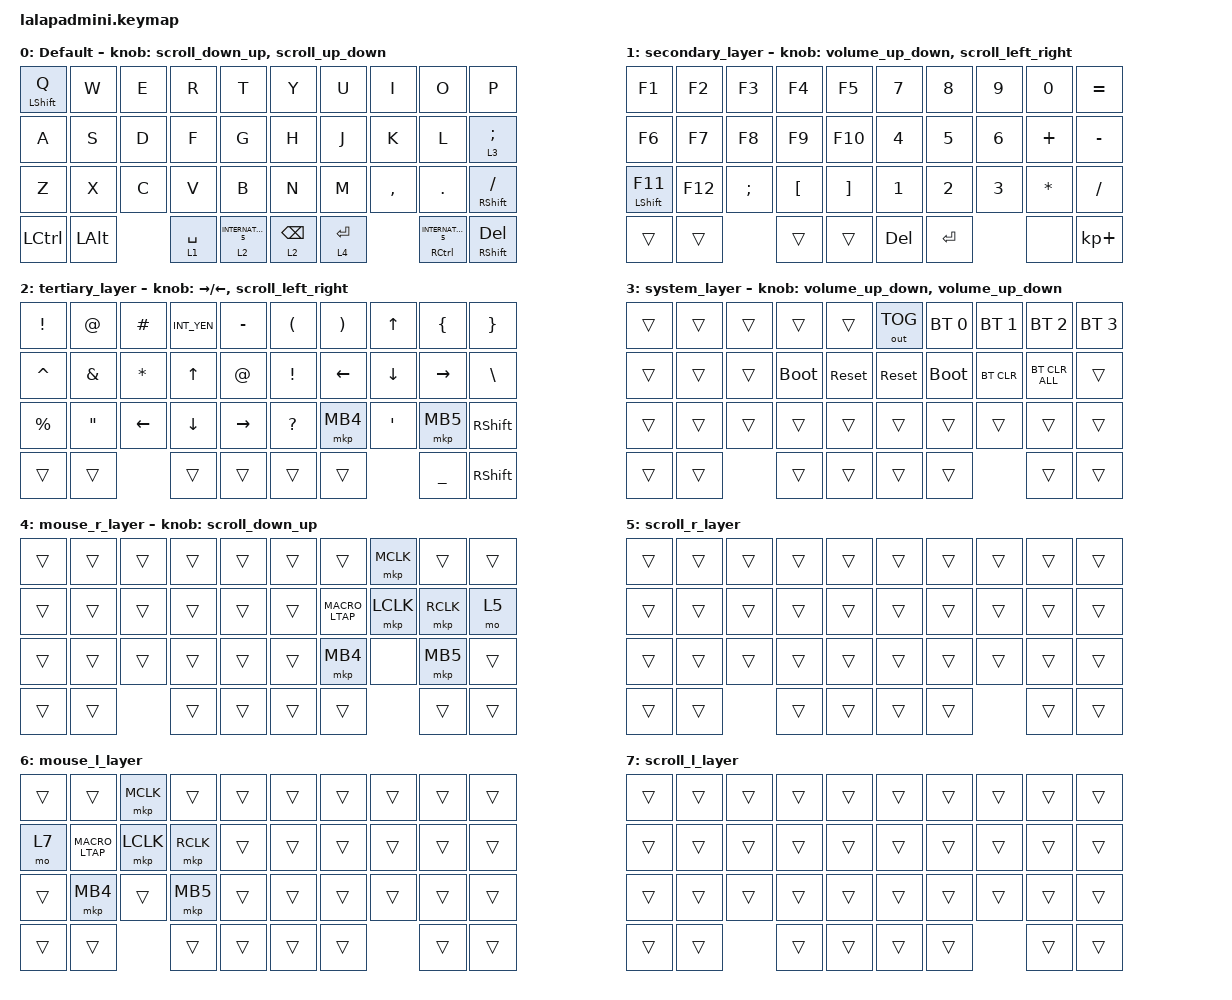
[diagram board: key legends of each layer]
#include <input/processors.dtsi>
#include <behaviors.dtsi>
#include <dt-bindings/zmk/bt.h>
#include <dt-bindings/zmk/keys.h>
#include <dt-bindings/zmk/outputs.h>
#include <dt-bindings/zmk/pointing.h>

#define DEFAULT_LAYER   0
#define SECONDARY_LAYER 1
#define TERTIARY_LAYER  2
#define SYSTEM_LAYER    3
#define MOUSE_R_LAYER   4
#define SCROLL_R_LAYER  5
#define MOUSE_L_LAYER   6
#define SCROLL_L_LAYER  7

// Mouse Scroll Value

#define ZMK_POINTING_DEFAULT_SCRL_VAL 100

// cirque trackpad input&layer control

&glidepoint_listener_R {
    input-processors =
        <&zip_xy_transform (INPUT_TRANSFORM_XY_SWAP | INPUT_TRANSFORM_X_INVERT | INPUT_TRANSFORM_Y_INVERT)>,
        <&zip_xy_scaler 3 2>,
        <&zip_temp_layer MOUSE_R_LAYER 300>;

    lowspeedmode {
        layers = <SECONDARY_LAYER>;
        input-processors =
            <&zip_xy_transform (INPUT_TRANSFORM_XY_SWAP | INPUT_TRANSFORM_X_INVERT | INPUT_TRANSFORM_Y_INVERT)>,
            <&zip_xy_scaler 3 5>,
            <&zip_temp_layer MOUSE_R_LAYER 300>;
    };

    scroller {
        layers = <SCROLL_R_LAYER>;
        input-processors =
            <&zip_xy_to_scroll_mapper>,
            <&zip_scroll_transform (INPUT_TRANSFORM_XY_SWAP | INPUT_TRANSFORM_Y_INVERT)>,
            <&zip_scroll_scaler 1 32>;
    };
};

&glidepoint_listener_L {
    input-processors =
        <&zip_xy_transform (INPUT_TRANSFORM_XY_SWAP | INPUT_TRANSFORM_X_INVERT | INPUT_TRANSFORM_Y_INVERT)>,
        <&zip_xy_scaler 3 2>,
        <&zip_temp_layer MOUSE_L_LAYER 300>;

    lowspeedmode {
        layers = <TERTIARY_LAYER>;
        input-processors =
            <&zip_xy_transform (INPUT_TRANSFORM_XY_SWAP | INPUT_TRANSFORM_X_INVERT | INPUT_TRANSFORM_Y_INVERT)>,
            <&zip_xy_scaler 3 4>,
            <&zip_temp_layer MOUSE_L_LAYER 300>;
    };

    scroller {
        layers = <SCROLL_L_LAYER>;
        input-processors =
            <&zip_xy_to_scroll_mapper>,
            <&zip_scroll_transform (INPUT_TRANSFORM_XY_SWAP | INPUT_TRANSFORM_Y_INVERT)>,
            <&zip_scroll_scaler 1 32>;
    };
};

&mt { quick-tap-ms = <200>; };

&lt { quick-tap-ms = <200>; };

/ {
    behaviors {
        // Encoder to Mouse Scroll

        scroll_up_down: behavior_sensor_rotate_mouse_wheel_up_down {
            compatible = "zmk,behavior-sensor-rotate";
            #sensor-binding-cells = <0>;
            bindings = <&msc SCRL_UP>, <&msc SCRL_DOWN>;

            tap-ms = <20>;
        };

        scroll_down_up: behavior_sensor_rotate_mouse_wheel_down_up {
            compatible = "zmk,behavior-sensor-rotate";
            #sensor-binding-cells = <0>;
            bindings = <&msc SCRL_DOWN>, <&msc SCRL_UP>;

            tap-ms = <20>;
        };

        scroll_left_right: behavior_sensor_rotate_mouse_wheel_left_right {
            compatible = "zmk,behavior-sensor-rotate";
            #sensor-binding-cells = <0>;
            bindings = <&msc SCRL_LEFT>, <&msc SCRL_RIGHT>;

            tap-ms = <20>;
        };

        scroll_right_left: behavior_sensor_rotate_mouse_wheel_right_left {
            compatible = "zmk,behavior-sensor-rotate";
            #sensor-binding-cells = <0>;
            bindings = <&msc SCRL_RIGHT>, <&msc SCRL_LEFT>;

            tap-ms = <20>;
        };

        volume_up_down: behavior_sensor_rotate_volume_up_down {
            compatible = "zmk,behavior-sensor-rotate";
            #sensor-binding-cells = <0>;
            bindings = <&kp C_VOLUME_UP>, <&kp C_VOLUME_DOWN>;

            tap-ms = <20>;
        };

        mt2: mod_tap2 {
            compatible = "zmk,behavior-hold-tap";
            #binding-cells = <2>;
            flavor = "tap-preferred";
            tapping-term-ms = <200>;
            quick-tap-ms = <200>;
            require-prior-idle-ms = <125>;
            bindings = <&kp>, <&kp>;
        };

        tap_dance_layer_1and2: tap_dance_layer_1and2 {
            compatible = "zmk,behavior-tap-dance";
            label = "td_mo12";
            #binding-cells = <0>;
            bindings = <&mo 1>, <&mo 2>;
        };
    };

    combos {
        compatible = "zmk,combos";

        CONBO_ESC {
            bindings = <&kp ESCAPE>;
            key-positions = <0 1>;
        };

        COMBO_TAB {
            bindings = <&kp TAB>;
            key-positions = <10 11>;
        };

        COMBO_WIN {
            bindings = <&kp LWIN>;
            key-positions = <30 31>;
        };

        COMBO_henkan {
            bindings = <&kp INTERNATIONAL_4>;
            key-positions = <32 33>;
        };
    };

    macros {
        MACRO_LTAP: MACRO_LTAP {
            compatible = "zmk,behavior-macro";
            #binding-cells = <0>;
            bindings = <&mkp LCLK>;
            label = "MACRO_LTAP";
        };
    };

    keymap {
        compatible = "zmk,keymap";

        DEFAULT_LAYER {
            display-name = "Default";
            sensor-bindings = <&scroll_down_up>, <&scroll_up_down>;

            bindings = <
&mt LEFT_SHIFT Q  &kp W         &kp E  &kp R        &kp T                  &kp Y            &kp U        &kp I      &kp O                              &kp P
&kp A             &kp S         &kp D  &kp F        &kp G                  &kp H            &kp J        &kp K      &kp L                              &lt 3 SEMI
&kp Z             &kp X         &kp C  &kp V        &kp B                  &kp N            &kp M        &kp COMMA  &kp PERIOD                         &mt RSHIFT SLASH
&kp LCTRL         &kp LEFT_ALT         &lt 1 SPACE  &lt 2 INTERNATIONAL_5  &lt 2 BACKSPACE  &lt 4 ENTER             &mt RIGHT_CONTROL INTERNATIONAL_5  &mt RIGHT_SHIFT DELETE
            >;
        };

        SECONDARY_LAYER {
            display-name = "secondary_layer";
            sensor-bindings = <&volume_up_down>, <&scroll_left_right>;

            bindings = <
&kp F1              &kp F2   &kp F3         &kp F4            &kp F5             &kp NUMBER_7  &kp NUMBER_8  &kp NUMBER_9  &kp NUMBER_0  &kp EQUAL
&kp F6              &kp F7   &kp F8         &kp F9            &kp F10            &kp NUMBER_4  &kp NUMBER_5  &kp NUMBER_6  &kp PLUS      &kp MINUS
&mt LEFT_SHIFT F11  &kp F12  &kp SEMICOLON  &kp LEFT_BRACKET  &kp RIGHT_BRACKET  &kp NUMBER_1  &kp NUMBER_2  &kp NUMBER_3  &kp ASTERISK  &kp SLASH
&trans              &trans                  &trans            &trans             &kp DELETE    &kp ENTER                   &none         &kp KP_PLUS
            >;
        };

        TERTIARY_LAYER {
            display-name = "tertiary_layer";
            bindings = <
&kp EXCLAMATION  &kp AT_SIGN        &kp HASH      &kp INT_YEN  &kp MINUS  &kp LEFT_PARENTHESIS  &kp RIGHT_PARENTHESIS  &kp UP_ARROW    &kp LEFT_BRACE  &kp RIGHT_BRACE
&kp CARET        &kp AMPERSAND      &kp ASTERISK  &kp UP       &kp AT     &kp EXCLAMATION       &kp LEFT               &kp DOWN        &kp RIGHT       &kp BACKSLASH
&kp PERCENT      &kp DOUBLE_QUOTES  &kp LEFT      &kp DOWN     &kp RIGHT  &kp QUESTION          &mkp MB4               &kp APOSTROPHE  &mkp MB5        &kp RIGHT_SHIFT
&trans           &trans                           &trans       &trans     &trans                &trans                                 &kp UNDER       &kp RIGHT_SHIFT
            >;

            sensor-bindings =
                <&inc_dec_kp RIGHT_ARROW LEFT_ARROW>,
                <&scroll_left_right>;
        };

        SYSTEM_LAYER {
            display-name = "system_layer";
            sensor-bindings = <&volume_up_down>, <&volume_up_down>;

            bindings = <
&trans  &trans  &trans  &trans       &trans      &out OUT_TOG  &bt BT_SEL 0  &bt BT_SEL 1  &bt BT_SEL 2    &bt BT_SEL 3
&trans  &trans  &trans  &bootloader  &sys_reset  &sys_reset    &bootloader   &bt BT_CLR    &bt BT_CLR_ALL  &trans
&trans  &trans  &trans  &trans       &trans      &trans        &trans        &trans        &trans          &trans
&trans  &trans          &trans       &trans      &trans        &trans                      &trans          &trans
            >;
        };

        MOUSE_R_LAYER {
            display-name = "mouse_r_layer";
            bindings = <
&trans  &trans  &trans  &trans  &trans  &trans  &trans       &mkp MCLK  &trans     &trans
&trans  &trans  &trans  &trans  &trans  &trans  &MACRO_LTAP  &mkp LCLK  &mkp RCLK  &mo 5
&trans  &trans  &trans  &trans  &trans  &trans  &mkp MB4     &none      &mkp MB5   &trans
&trans  &trans          &trans  &trans  &trans  &trans                  &trans     &trans
            >;

            sensor-bindings = <&scroll_down_up>;
        };

        SCROLL_R_LAYER {
            display-name = "scroll_r_layer";
            bindings = <
&trans  &trans  &trans  &trans  &trans  &trans  &trans  &trans  &trans  &trans
&trans  &trans  &trans  &trans  &trans  &trans  &trans  &trans  &trans  &trans
&trans  &trans  &trans  &trans  &trans  &trans  &trans  &trans  &trans  &trans
&trans  &trans          &trans  &trans  &trans  &trans          &trans  &trans
            >;
        };

        MOUSE_L_LAYER {
            display-name = "mouse_l_layer";
            bindings = <
&trans  &trans       &mkp MCLK  &trans     &trans  &trans  &trans  &trans  &trans  &trans
&mo 7   &MACRO_LTAP  &mkp LCLK  &mkp RCLK  &trans  &trans  &trans  &trans  &trans  &trans
&trans  &mkp MB4     &trans     &mkp MB5   &trans  &trans  &trans  &trans  &trans  &trans
&trans  &trans                  &trans     &trans  &trans  &trans          &trans  &trans
            >;
        };

        SCROLL_L_LAYER {
            display-name = "scroll_l_layer";
            bindings = <
&trans  &trans  &trans  &trans  &trans  &trans  &trans  &trans  &trans  &trans
&trans  &trans  &trans  &trans  &trans  &trans  &trans  &trans  &trans  &trans
&trans  &trans  &trans  &trans  &trans  &trans  &trans  &trans  &trans  &trans
&trans  &trans          &trans  &trans  &trans  &trans          &trans  &trans
            >;
        };
    };

    conditional_layers {
        compatible = "zmk,conditional-layers";

        System_layer {
            if-layers = <2 4>;
            then-layer = <3>;
        };
    };
};
